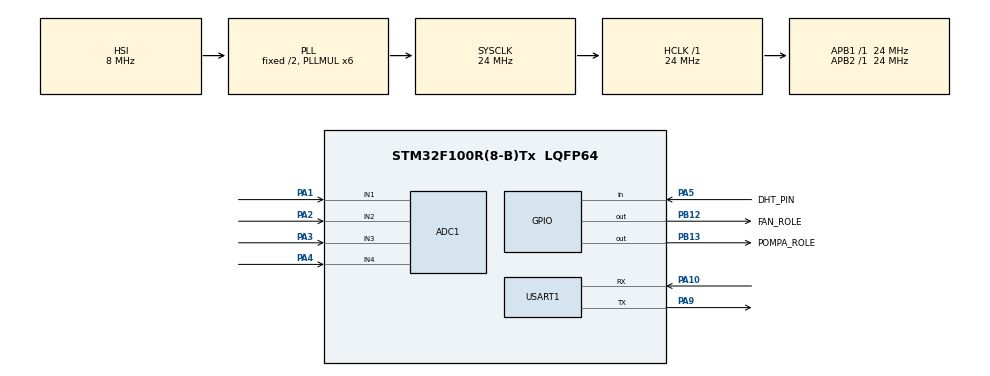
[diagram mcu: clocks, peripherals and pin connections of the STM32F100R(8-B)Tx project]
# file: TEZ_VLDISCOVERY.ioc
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ADC1.Channel-0\#ChannelRegularConversion=ADC_CHANNEL_1
ADC1.Channel-1\#ChannelRegularConversion=ADC_CHANNEL_2
ADC1.Channel-2\#ChannelRegularConversion=ADC_CHANNEL_3
ADC1.Channel-3\#ChannelRegularConversion=ADC_CHANNEL_4
ADC1.ContinuousConvMode=ENABLE
ADC1.NbrOfConversion=4
ADC1.NbrOfConversionFlag=1
ADC1.Rank-0\#ChannelRegularConversion=1
ADC1.Rank-1\#ChannelRegularConversion=2
ADC1.Rank-2\#ChannelRegularConversion=3
ADC1.Rank-3\#ChannelRegularConversion=4
ADC1.SamplingTime-0\#ChannelRegularConversion=ADC_SAMPLETIME_55CYCLES_5
ADC1.SamplingTime-1\#ChannelRegularConversion=ADC_SAMPLETIME_55CYCLES_5
ADC1.SamplingTime-2\#ChannelRegularConversion=ADC_SAMPLETIME_55CYCLES_5
ADC1.SamplingTime-3\#ChannelRegularConversion=ADC_SAMPLETIME_55CYCLES_5
ADC1.master=1
Dma.ADC1.0.Direction=DMA_PERIPH_TO_MEMORY
Dma.ADC1.0.Instance=DMA1_Channel1
Dma.ADC1.0.MemDataAlignment=DMA_MDATAALIGN_WORD
Dma.ADC1.0.MemInc=DMA_MINC_ENABLE
Dma.ADC1.0.Mode=DMA_CIRCULAR
Dma.ADC1.0.PeriphDataAlignment=DMA_PDATAALIGN_HALFWORD
Dma.ADC1.0.PeriphInc=DMA_PINC_DISABLE
Dma.ADC1.0.Priority=DMA_PRIORITY_LOW
Dma.Request0=ADC1
Mcu.Family=STM32F1
Mcu.Name=STM32F100R(8-B)Tx
Mcu.Package=LQFP64
NVIC.DMA1_Channel1_IRQn=true\:0\:0\:false\:false\:true\:false\:true\:true
NVIC.PriorityGroup=NVIC_PRIORITYGROUP_4
PA0-WKUP.Mode=SYS_WakeUp0
PA0-WKUP.Signal=SYS_WKUP
PA1.Signal=ADCx_IN1
PA10.Mode=Asynchronous
PA10.Signal=USART1_RX
PA13.GPIO_Label=TMS_SWDIO
PA13.Mode=Serial_Wire
PA13.Signal=SYS_JTMS-SWDIO
PA14.GPIO_Label=TCK_SWCLK
PA14.Mode=Serial_Wire
PA14.Signal=SYS_JTCK-SWCLK
PA2.Signal=ADCx_IN2
PA3.Signal=ADCx_IN3
PA4.Signal=ADCx_IN4
PA5.GPIO_Label=DHT_PIN
PA5.Signal=GPIO_Input
PA9.Mode=Asynchronous
PA9.Signal=USART1_TX
PB12.GPIO_Label=FAN_ROLE
PB12.Signal=GPIO_Output
PB13.GPIO_Label=POMPA_ROLE
PB13.Signal=GPIO_Output
PC14-OSC32_IN.Mode=LSE-External-Oscillator
PC14-OSC32_IN.Signal=RCC_OSC32_IN
PC15-OSC32_OUT.Mode=LSE-External-Oscillator
PC15-OSC32_OUT.Signal=RCC_OSC32_OUT
PD0-OSC_IN.Mode=HSE-External-Oscillator
PD0-OSC_IN.Signal=RCC_OSC_IN
PD1-OSC_OUT.Mode=HSE-External-Oscillator
PD1-OSC_OUT.Signal=RCC_OSC_OUT
ProjectManager.HeapSize=0x200
ProjectManager.StackSize=0x400
ProjectManager.TargetToolchain=MDK-ARM V5.32
RCC.AHBFreq_Value=24000000
RCC.APB1Freq_Value=24000000
RCC.APB1TimFreq_Value=24000000
RCC.APB2Freq_Value=24000000
RCC.APB2TimFreq_Value=24000000
RCC.HCLKFreq_Value=24000000
RCC.PLLMUL=RCC_PLL_MUL6
RCC.SYSCLKFreq_VALUE=24000000
RCC.SYSCLKSource=RCC_SYSCLKSOURCE_PLLCLK
SH.ADCx_IN1.0=ADC1_IN1,IN1
SH.ADCx_IN2.0=ADC1_IN2,IN2
SH.ADCx_IN3.0=ADC1_IN3,IN3
SH.ADCx_IN4.0=ADC1_IN4,IN4
TIM2.Period=65535
TIM2.Prescaler=24-1
USART1.VirtualMode=VM_ASYNC
VP_TIM2_VS_ClockSourceINT.Mode=Internal
board=STM32VLDISCOVERY

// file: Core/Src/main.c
/* USER CODE BEGIN Header */
/**
  ******************************************************************************
  * @file           : main.c
  * @brief          : Main program body
  ******************************************************************************
  * @attention
  *
  * Copyright (c) 2025 STMicroelectronics.
  * All rights reserved.
  *
  * This software is licensed under terms that can be found in the LICENSE file
  * in the root directory of this software component.
  * If no LICENSE file comes with this software, it is provided AS-IS.
  *
  ******************************************************************************
  */
/* USER CODE END Header */
#include "main.h"

/* USER CODE BEGIN Includes */
#include "stdio.h"
#include "string.h"
/* USER CODE END Includes */

ADC_HandleTypeDef hadc1;
DMA_HandleTypeDef hdma_adc1;
TIM_HandleTypeDef htim2;
UART_HandleTypeDef huart1;

/* USER CODE BEGIN PV */
// FIX: DMA arka planda günceller — volatile ZORUNLU
volatile uint32_t adc_degerleri[4];
uint8_t fan_acik = 0;
uint8_t pompa_acik = 0;
float adc_value;
float ortalama;
float yuzdeortalama;
float suseviye;
char  json_buffer[150];
/* USER CODE END PV */

void SystemClock_Config(void);
static void MX_GPIO_Init(void);
static void MX_DMA_Init(void);
static void MX_ADC1_Init(void);
static void MX_USART1_UART_Init(void);
static void MX_TIM2_Init(void);

/* USER CODE BEGIN 0 */

// --- PIN AYARLARI ---
#define DHT_PORT           GPIOA
#define DHT_PIN            GPIO_PIN_5

#define FAN_PORT           GPIOB
#define FAN_PIN            GPIO_PIN_12
#define FAN_ACMA_SICAKLIGI 25.0f

#define POMPA_ROLE_PORT      GPIOB
#define POMPA_ROLE_PIN       GPIO_PIN_13
#define POMPA_ACMA_SEVIYESI  35.0f

// --- DHT22 DEGISKENLERI ---
uint8_t  Rh_byte1, Rh_byte2, Temp_byte1, Temp_byte2;
uint8_t  SUM;              // FIX: uint16_t'den uint8_t'e degistirildi (checksum 1 byte'tir)
uint16_t RH, TEMP;
volatile float   Temperature = 0.0f;
volatile float   Humidity    = 0.0f;
volatile uint8_t Presence    = 0;

// --- FONKSIYONLAR ---

// 24 MHz için yaklasik gecikme (DWT yok, basit döngü)
// --- YENI VE KUSURSUZ ZAMANLAYICI ---
void delay_us(uint16_t us)
{
    __HAL_TIM_SET_COUNTER(&htim2, 0);  // Kronometreyi sifirla
    while (__HAL_TIM_GET_COUNTER(&htim2) < us); // Istenen mikrosaniye dolana kadar bekle
}

void Set_Pin_Output(GPIO_TypeDef *GPIOx, uint16_t GPIO_Pin)
{
    GPIO_InitTypeDef GPIO_InitStruct = {0};
    GPIO_InitStruct.Pin = GPIO_Pin;
    GPIO_InitStruct.Mode = GPIO_MODE_OUTPUT_PP;
    GPIO_InitStruct.Speed = GPIO_SPEED_FREQ_HIGH;
    HAL_GPIO_Init(GPIOx, &GPIO_InitStruct);
}

void Set_Pin_Input(GPIO_TypeDef *GPIOx, uint16_t GPIO_Pin)
{
    GPIO_InitTypeDef GPIO_InitStruct = {0};
    GPIO_InitStruct.Pin = GPIO_Pin;
    GPIO_InitStruct.Mode = GPIO_MODE_INPUT;
    GPIO_InitStruct.Pull = GPIO_NOPULL; // Harici 10k direncimiz oldugu için Pull-Up kapali
    HAL_GPIO_Init(GPIOx, &GPIO_InitStruct);
}

void DHT22_Start(void)
{
    Set_Pin_Output(DHT_PORT, DHT_PIN);
    HAL_GPIO_WritePin(DHT_PORT, DHT_PIN, 0); // Hatti 0'a çek
    delay_us(1200); // 1.2 milisaniye bekle (CT Makalesi Standardi)
    HAL_GPIO_WritePin(DHT_PORT, DHT_PIN, 1); // Hatti serbest birak
    delay_us(20);   // 20 mikrosaniye bekle ve dinlemeye geç
    Set_Pin_Input(DHT_PORT, DHT_PIN);
}

uint8_t DHT22_Check_Response(void)
{
    uint8_t Response = 0;
    delay_us(40); // Sensörün hatti 0'a çekmesini bekle
    if (!(HAL_GPIO_ReadPin(DHT_PORT, DHT_PIN)))
    {
        delay_us(80); // Sensörün hatti 1'e çekmesini bekle
        if ((HAL_GPIO_ReadPin(DHT_PORT, DHT_PIN))) Response = 1;
        else Response = -1;
    }
    // Sensör cevap verdi, hattin tekrar 0 olmasini (verinin baslamasini) bekle
    while ((HAL_GPIO_ReadPin(DHT_PORT, DHT_PIN)));
    return Response;
}

uint8_t DHT22_Read(void)
{
    uint8_t i, j;
    for (j = 0; j < 8; j++)
    {
        // Pin HIGH olana kadar bekle
        while (!(HAL_GPIO_ReadPin(DHT_PORT, DHT_PIN)));

        delay_us(40); // Sirri burada: 40us bekle. Eger hala HIGH ise deger '1'dir, LOW ise '0'dir.

        if (!(HAL_GPIO_ReadPin(DHT_PORT, DHT_PIN))) // Eger LOW olmussa
        {
            i &= ~(1 << (7 - j)); // Biti 0 yaz
        }
        else // Eger hala HIGH ise
        {
            i |= (1 << (7 - j));  // Biti 1 yaz
            while ((HAL_GPIO_ReadPin(DHT_PORT, DHT_PIN))); // Pinin tekrar LOW olmasini bekle
        }
    }
    return i;
}

void JSON_Gonder(void)
{
    // 1. Röle durumlarini Active-Low mantigiyla oku
    uint8_t fan_durum   = HAL_GPIO_ReadPin(FAN_PORT, FAN_PIN) == GPIO_PIN_RESET ? 1 : 0;
    uint8_t pompa_durum = HAL_GPIO_ReadPin(POMPA_ROLE_PORT, POMPA_ROLE_PIN) == GPIO_PIN_RESET ? 1 : 0;

    // 2. Ondalikli Sayilari (Float) Tam Sayi Parçalarina Ayirma Algoritmasi
    // Örnek: Sicaklik 24.5 ise -> temp_tam = 24, temp_ondalik = 5 olur.

    // Sicaklik
    int temp_tam = (int)Temperature;
    int temp_ondalik = (int)((Temperature - temp_tam) * 10.0f);
    if(temp_ondalik < 0) temp_ondalik = -temp_ondalik; // Negatif sicaklik çakismasini önler

    // Nem
    int hum_tam = (int)Humidity;
    int hum_ondalik = (int)((Humidity - hum_tam) * 10.0f);
    if(hum_ondalik < 0) hum_ondalik = -hum_ondalik;

    // Toprak Nemi
    int soil_tam = (int)yuzdeortalama;
    int soil_ondalik = (int)((yuzdeortalama - soil_tam) * 10.0f);
    if(soil_ondalik < 0) soil_ondalik = -soil_ondalik;

    // Su Seviyesi
    int water_tam = (int)suseviye;
    int water_ondalik = (int)((suseviye - water_tam) * 10.0f);
    if(water_ondalik < 0) water_ondalik = -water_ondalik;

    // 3. Verileri "%d.%d" mantigiyla JSON içine güvenle yerlestir
    snprintf(json_buffer, sizeof(json_buffer),
        "{\"temp\":%d.%d,\"hum\":%d.%d,\"soil\":%d.%d,\"water\":%d.%d,\"fan\":%d,\"pump\":%d}\n",
        temp_tam, temp_ondalik,
        hum_tam, hum_ondalik,
        soil_tam, soil_ondalik,
        water_tam, water_ondalik,
        fan_durum,
        pompa_durum
    );

    // 4. Hazirlanan JSON paketini ESP32'ye firlat
    HAL_UART_Transmit(&huart1, (uint8_t*)json_buffer, strlen(json_buffer), 100);
}

/* USER CODE END 0 */

int main(void)
{

  /* MCU Configuration--------------------------------------------------------*/

  /* Reset of all peripherals, Initializes the Flash interface and the Systick. */
  HAL_Init();

  /* Configure the system clock */
  SystemClock_Config();

  /* Initialize all configured peripherals */
  MX_GPIO_Init();
  MX_DMA_Init();
  MX_ADC1_Init();
  MX_USART1_UART_Init();
  MX_TIM2_Init();
  /* USER CODE BEGIN 2 */
    // FIX: STM32F1 ADC'nin dogru çalismasi için kalibrasyon DMA baslatmadan ÖNCE yapilmali
		HAL_TIM_Base_Start(&htim2); // kronometreyi baslat
    HAL_ADCEx_Calibration_Start(&hadc1);
    HAL_ADC_Start_DMA(&hadc1, (uint32_t*)adc_degerleri, 4);
  /* USER CODE END 2 */

  /* Infinite loop */
  /* USER CODE BEGIN WHILE */
	HAL_Delay(1000);
    while (1)
    {
    /* USER CODE END WHILE */

    /* USER CODE BEGIN 3 */

// ---------------------------------------------------------
        // 1. ADIM: SENSÖR VERILERINI HESAPLA VE KALIBRE ET
        // ---------------------------------------------------------
        ortalama = (adc_degerleri[0] + adc_degerleri[1] + adc_degerleri[2]) / 3.0f;
        suseviye = (adc_degerleri[3] * 100.0f) / 4095.0f;

        // KENDI SENSÖRÜNÜN KALIBRASYON DEGERLERI (Watch ekranindan aldiklarin)
        float HAVADA_ADC = 2450.0f; // Kuru durum (Maksimum ADC degeri)
        float SUDA_ADC   = 880.0f; // Islak durum (Minimum ADC degeri)

        // Dogrusal Haritalama (Map) Formülü (Ters Oranti)
        yuzdeortalama = ((ortalama - HAVADA_ADC) * (100.0f - 0.0f)) / (SUDA_ADC - HAVADA_ADC) + 0.0f;

        // Güvenlik Kilidi (Constraint) - Degerlerin %0'in altina veya %100'ün üstüne çikmasini engeller
        if (yuzdeortalama < 0.0f) {
            yuzdeortalama = 0.0f;
        }
        else if (yuzdeortalama > 100.0f) {
            yuzdeortalama = 100.0f;
        }
				// SU SEVIYESI KALIBRASYONU (Dogru Oranti) ---
        // Önce mevcut formülle ham yüzdeyi aliyoruz
        float ham_su_yuzdesi = (adc_degerleri[3] * 100.0f) / 4095.0f;

        float HAVADA_SU_SINIR = 6.86f;  // Depo tamamen bosken okunan ham deger (%0 Su)
        float SUDA_SU_SINIR   = 34.5f;  // Depo tamamen doluyken okunan ham deger (%100 Su)

        // Dogru orantili haritalama formülü
        suseviye = ((ham_su_yuzdesi - HAVADA_SU_SINIR) * 100.0f) / (SUDA_SU_SINIR - HAVADA_SU_SINIR);

        // Su seviyesi sinir kilidi
        if (suseviye < 0.0f)   suseviye = 0.0f;
        if (suseviye > 100.0f) suseviye = 100.0f;

				// ---------------------------------------------------------
        // 2. ADIM: POMPA KONTROLÜ (KUSURSUZ ÇALISAN MANTIK)
        // ---------------------------------------------------------

        // ÖNCE GÜVENLIK: Su seviyesi 30'un altindaysa toprak ne olursa olsun pompayi kapat!
        if (suseviye < 30.0f)
        {
            pompa_acik = 0;
            HAL_GPIO_WritePin(POMPA_ROLE_PORT, POMPA_ROLE_PIN, GPIO_PIN_SET); // Pompayi KAPAT (Active-Low: SET)
        }
        else
        {
            // EGER SU VARSA (30'dan büyükse) senin istedigin sartlar çalisabilir:
            if (!pompa_acik && yuzdeortalama <= 40.0f)
            {
                pompa_acik = 1;
                HAL_GPIO_WritePin(POMPA_ROLE_PORT, POMPA_ROLE_PIN, GPIO_PIN_RESET); // Pompayi AÇ (Active-Low: RESET)
            }
            else if (pompa_acik && yuzdeortalama >= 60.0f)
            {
                pompa_acik = 0;
                HAL_GPIO_WritePin(POMPA_ROLE_PORT, POMPA_ROLE_PIN, GPIO_PIN_SET);   // Pompayi KAPAT (Active-Low: SET)
            }
        }

// ---------------------------------------------------------
        // 3. ADIM: DHT22 SENSÖRÜ (KESME KORUMALI)
        // ---------------------------------------------------------

        // Islemcinin arka plan islerini dondur, pür dikkat sensörü dinle
        __disable_irq();

        DHT22_Start();
        Presence = DHT22_Check_Response();

        if (Presence == 1)
        {
            Rh_byte1   = DHT22_Read();
            Rh_byte2   = DHT22_Read();
            Temp_byte1 = DHT22_Read();
            Temp_byte2 = DHT22_Read();
            SUM        = DHT22_Read();
        }

        // Sensörle isimiz bitti, arka plan islerini ve zamanlayicilari geri aç
        __enable_irq();

        // Veri hesaplamalarini kesmeler açikken (güvenli bölgede) yap
        if (Presence == 1)
        {
            if (SUM == ((Rh_byte1 + Rh_byte2 + Temp_byte1 + Temp_byte2) & 0xFF))
            {
                TEMP = ((Temp_byte1 & 0x7F) << 8) | Temp_byte2;
                Temperature = (float)TEMP / 10.0f;

                if (Temp_byte1 & 0x80)
                {
                    Temperature = -Temperature;
                }

                RH       = (Rh_byte1 << 8) | Rh_byte2;
                Humidity = (float)RH / 10.0f;
            }
        }

        // ---------------------------------------------------------
        // 4. ADIM: FAN KONTROLÜ (Active-Low)
        // ---------------------------------------------------------
				if (!fan_acik && Temperature >= 21.0f)
				{
				fan_acik = 1;
				HAL_GPIO_WritePin(FAN_PORT, FAN_PIN, GPIO_PIN_RESET);
				}
				else if (fan_acik && Temperature < 21.0f)
				{
				fan_acik = 0;
				HAL_GPIO_WritePin(FAN_PORT, FAN_PIN, GPIO_PIN_SET);
				}

        // ---------------------------------------------------------
        // 5. ADIM: VERILERI GÖNDER VE BEKLE
        // ---------------------------------------------------------
        JSON_Gonder();
        HAL_Delay(2000);
			}
  /* USER CODE END 3 */
}

void SystemClock_Config(void)
{
  RCC_OscInitTypeDef RCC_OscInitStruct = {0};
  RCC_ClkInitTypeDef RCC_ClkInitStruct = {0};
  RCC_PeriphCLKInitTypeDef PeriphClkInit = {0};

  /** Initializes the RCC Oscillators according to the specified parameters
  * in the RCC_OscInitTypeDef structure.
  */
  RCC_OscInitStruct.OscillatorType = RCC_OSCILLATORTYPE_HSI;
  RCC_OscInitStruct.HSIState = RCC_HSI_ON;
  RCC_OscInitStruct.HSICalibrationValue = RCC_HSICALIBRATION_DEFAULT;
  RCC_OscInitStruct.PLL.PLLState = RCC_PLL_ON;
  RCC_OscInitStruct.PLL.PLLSource = RCC_PLLSOURCE_HSI_DIV2;
  RCC_OscInitStruct.PLL.PLLMUL = RCC_PLL_MUL6;
  if (HAL_RCC_OscConfig(&RCC_OscInitStruct) != HAL_OK)
  {
    Error_Handler();
  }

  /** Initializes the CPU, AHB and APB buses clocks
  */
  RCC_ClkInitStruct.ClockType = RCC_CLOCKTYPE_HCLK|RCC_CLOCKTYPE_SYSCLK
                              |RCC_CLOCKTYPE_PCLK1|RCC_CLOCKTYPE_PCLK2;
  RCC_ClkInitStruct.SYSCLKSource = RCC_SYSCLKSOURCE_PLLCLK;
  RCC_ClkInitStruct.AHBCLKDivider = RCC_SYSCLK_DIV1;
  RCC_ClkInitStruct.APB1CLKDivider = RCC_HCLK_DIV1;
  RCC_ClkInitStruct.APB2CLKDivider = RCC_HCLK_DIV1;

  if (HAL_RCC_ClockConfig(&RCC_ClkInitStruct, FLASH_LATENCY_0) != HAL_OK)
  {
    Error_Handler();
  }
  PeriphClkInit.PeriphClockSelection = RCC_PERIPHCLK_ADC;
  PeriphClkInit.AdcClockSelection = RCC_ADCPCLK2_DIV2;
  if (HAL_RCCEx_PeriphCLKConfig(&PeriphClkInit) != HAL_OK)
  {
    Error_Handler();
  }
}

static void MX_ADC1_Init(void)
{

  ADC_ChannelConfTypeDef sConfig = {0};

  /** Common config
  */
  hadc1.Instance = ADC1;
  hadc1.Init.ScanConvMode = ADC_SCAN_ENABLE;
  hadc1.Init.ContinuousConvMode = ENABLE;
  hadc1.Init.DiscontinuousConvMode = DISABLE;
  hadc1.Init.ExternalTrigConv = ADC_SOFTWARE_START;
  hadc1.Init.DataAlign = ADC_DATAALIGN_RIGHT;
  hadc1.Init.NbrOfConversion = 4;
  if (HAL_ADC_Init(&hadc1) != HAL_OK)
  {
    Error_Handler();
  }

  /** Configure Regular Channel
  */
  sConfig.Channel = ADC_CHANNEL_1;
  sConfig.Rank = ADC_REGULAR_RANK_1;
  sConfig.SamplingTime = ADC_SAMPLETIME_55CYCLES_5;
  if (HAL_ADC_ConfigChannel(&hadc1, &sConfig) != HAL_OK)
  {
    Error_Handler();
  }

  /** Configure Regular Channel
  */
  sConfig.Channel = ADC_CHANNEL_2;
  sConfig.Rank = ADC_REGULAR_RANK_2;
  if (HAL_ADC_ConfigChannel(&hadc1, &sConfig) != HAL_OK)
  {
    Error_Handler();
  }

  /** Configure Regular Channel
  */
  sConfig.Channel = ADC_CHANNEL_3;
  sConfig.Rank = ADC_REGULAR_RANK_3;
  if (HAL_ADC_ConfigChannel(&hadc1, &sConfig) != HAL_OK)
  {
    Error_Handler();
  }

  /** Configure Regular Channel
  */
  sConfig.Channel = ADC_CHANNEL_4;
  sConfig.Rank = ADC_REGULAR_RANK_4;
  if (HAL_ADC_ConfigChannel(&hadc1, &sConfig) != HAL_OK)
  {
    Error_Handler();
  }

}

static void MX_TIM2_Init(void)
{

  TIM_ClockConfigTypeDef sClockSourceConfig = {0};
  TIM_MasterConfigTypeDef sMasterConfig = {0};

  htim2.Instance = TIM2;
  htim2.Init.Prescaler = 24-1;
  htim2.Init.CounterMode = TIM_COUNTERMODE_UP;
  htim2.Init.Period = 65535;
  htim2.Init.ClockDivision = TIM_CLOCKDIVISION_DIV1;
  htim2.Init.AutoReloadPreload = TIM_AUTORELOAD_PRELOAD_DISABLE;
  if (HAL_TIM_Base_Init(&htim2) != HAL_OK)
  {
    Error_Handler();
  }
  sClockSourceConfig.ClockSource = TIM_CLOCKSOURCE_INTERNAL;
  if (HAL_TIM_ConfigClockSource(&htim2, &sClockSourceConfig) != HAL_OK)
  {
    Error_Handler();
  }
  sMasterConfig.MasterOutputTrigger = TIM_TRGO_RESET;
  sMasterConfig.MasterSlaveMode = TIM_MASTERSLAVEMODE_DISABLE;
  if (HAL_TIMEx_MasterConfigSynchronization(&htim2, &sMasterConfig) != HAL_OK)
  {
    Error_Handler();
  }

}

static void MX_USART1_UART_Init(void)
{

  huart1.Instance = USART1;
  huart1.Init.BaudRate = 115200;
  huart1.Init.WordLength = UART_WORDLENGTH_8B;
  huart1.Init.StopBits = UART_STOPBITS_1;
  huart1.Init.Parity = UART_PARITY_NONE;
  huart1.Init.Mode = UART_MODE_TX_RX;
  huart1.Init.HwFlowCtl = UART_HWCONTROL_NONE;
  huart1.Init.OverSampling = UART_OVERSAMPLING_16;
  if (HAL_UART_Init(&huart1) != HAL_OK)
  {
    Error_Handler();
  }

}

static void MX_DMA_Init(void)
{

  /* DMA controller clock enable */
  __HAL_RCC_DMA1_CLK_ENABLE();

  /* DMA interrupt init */
  /* DMA1_Channel1_IRQn interrupt configuration */
  HAL_NVIC_SetPriority(DMA1_Channel1_IRQn, 0, 0);
  HAL_NVIC_EnableIRQ(DMA1_Channel1_IRQn);

}

static void MX_GPIO_Init(void)
{
  GPIO_InitTypeDef GPIO_InitStruct = {0};

  /* GPIO Ports Clock Enable */
  __HAL_RCC_GPIOC_CLK_ENABLE();
  __HAL_RCC_GPIOD_CLK_ENABLE();
  __HAL_RCC_GPIOA_CLK_ENABLE();
  __HAL_RCC_GPIOB_CLK_ENABLE();

  /*Configure GPIO pin Output Level */
	HAL_GPIO_WritePin(GPIOB, FAN_ROLE_Pin|POMPA_ROLE_Pin, GPIO_PIN_SET);

  /*Configure GPIO pin : DHT_PIN_Pin */
  GPIO_InitStruct.Pin = DHT_PIN_Pin;
  GPIO_InitStruct.Mode = GPIO_MODE_INPUT;
  GPIO_InitStruct.Pull = GPIO_NOPULL;
  HAL_GPIO_Init(DHT_PIN_GPIO_Port, &GPIO_InitStruct);

  /*Configure GPIO pins : FAN_ROLE_Pin POMPA_ROLE_Pin */
  GPIO_InitStruct.Pin = FAN_ROLE_Pin|POMPA_ROLE_Pin;
  GPIO_InitStruct.Mode = GPIO_MODE_OUTPUT_PP;
  GPIO_InitStruct.Pull = GPIO_NOPULL;
  GPIO_InitStruct.Speed = GPIO_SPEED_FREQ_LOW;
  HAL_GPIO_Init(GPIOB, &GPIO_InitStruct);

}

void Error_Handler(void)
{
    __disable_irq();
    while (1) {}
}
